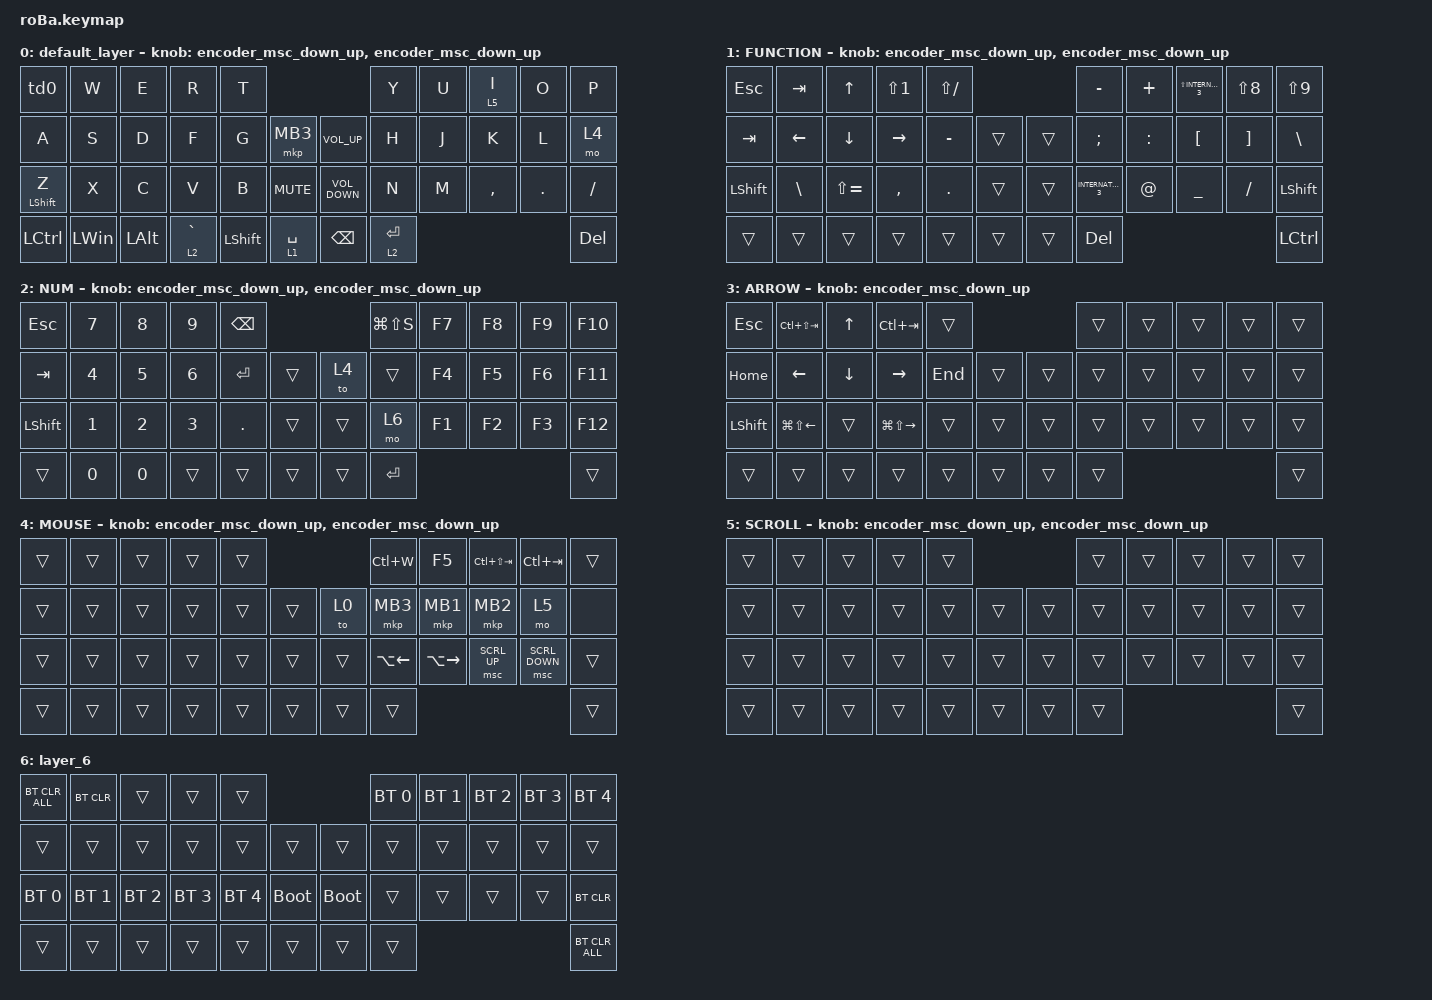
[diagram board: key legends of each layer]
#include <dt-bindings/zmk/pointing.h>　

#include <behaviors.dtsi>
#include <dt-bindings/zmk/bt.h>
#include <dt-bindings/zmk/keys.h>
#include <dt-bindings/zmk/pointing.h>

#define ZMK_POINTING_DEFAULT_SCRL_VAL 80
#define MOUSE 4
#define SCROLL 5
#define NUM 6

&mt {
    flavor = "balanced";
    quick-tap-ms = <0>;
};

/ {
    combos {
        compatible = "zmk,combos";

        MO6 {
            bindings = <&mo 6>;
            key-positions = <41 29>;
        };

        MO2 {
            bindings = <&mo 2>;
            key-positions = <22 10>;
        };
    };

    macros {
        to_layer_0: to_layer_0 {
            compatible = "zmk,behavior-macro-one-param";
            #binding-cells = <1>;
            bindings = <&to 0 &macro_param_1to1 &kp MACRO_PLACEHOLDER>;
            label = "TO_LAYER_0";
        };
    };

    behaviors {
        encoder_msc_down_up: encoder_msc_down_up {
            compatible = "zmk,behavior-sensor-rotate";
            label = "ENCODER_MSC_DOWN_UP";
            #sensor-binding-cells = <0>;
            bindings = <&msc SCRL_DOWN>, <&msc SCRL_UP>;

            tap-ms = <20>;
        };
    };

    behaviors {
        lt_to_layer_0: lt_to_layer_0 {
            compatible = "zmk,behavior-hold-tap";
            label = "LAYER_TAP_TO_0";
            bindings = <&mo>, <&to_layer_0>;

            #binding-cells = <2>;
            tapping-term-ms = <200>;
        };
    };

    behaviors {
        td0: tap_dance_0 {
            compatible = "zmk,behavior-tap-dance";
            #binding-cells = <0>;
            tapping-term-ms = <200>;
            bindings = <&kp Q>, <&kp GRAVE>;
        };
    };

    keymap {
        compatible = "zmk,keymap";

        default_layer {
            bindings = <
&td0              &kp W         &kp E         &kp R        &kp T                                               &kp Y        &kp U  &lt 5 I    &kp O    &kp P
&kp A             &kp S         &kp D         &kp F        &kp G           &mkp MB3         &kp C_VOL_UP       &kp H        &kp J  &kp K      &kp L    &mo 4
&mt LEFT_SHIFT Z  &kp X         &kp C         &kp V        &kp B           &kp C_MUTE       &kp C_VOLUME_DOWN  &kp N        &kp M  &kp COMMA  &kp DOT  &kp SLASH
&kp LCTRL         &kp LEFT_WIN  &kp LEFT_ALT  &lt 2 GRAVE  &kp LEFT_SHIFT  &lt 1 SPACE      &kp BACKSPACE      &lt 2 ENTER                             &kp DEL
            >;

            sensor-bindings = <&encoder_msc_down_up>, <&encoder_msc_down_up>;
        };

        FUNCTION {
            bindings = <
&kp ESC         &kp TAB        &kp UP         &kp LS(NUMBER_1)  &kp LS(SLASH)                      &kp MINUS            &kp PLUS   &kp LS(INTERNATIONAL_3)  &kp LS(NUMBER_8)   &kp LS(NUMBER_9)
&kp TAB         &kp LEFT       &kp DOWN       &kp RIGHT         &kp MINUS      &trans      &trans  &kp SEMICOLON        &kp COLON  &kp LEFT_BRACKET         &kp RIGHT_BRACKET  &kp BACKSLASH
&kp LEFT_SHIFT  &kp BACKSLASH  &kp LS(EQUAL)  &kp COMMA         &kp PERIOD     &trans      &trans  &kp INTERNATIONAL_3  &kp AT     &kp UNDER                &kp SLASH          &kp LEFT_SHIFT
&trans          &trans         &trans         &trans            &trans         &trans      &trans  &kp DEL                                                                     &kp LCTRL
            >;

            sensor-bindings = <&encoder_msc_down_up>, <&encoder_msc_down_up>;
        };

        NUM {
            bindings = <
&kp ESCAPE      &kp NUMBER_7  &kp NUMBER_8  &kp NUMBER_9  &kp BACKSPACE                      &kp LG(LS(S))  &kp F7  &kp F8  &kp F9  &kp F10
&kp TAB         &kp NUMBER_4  &kp NUMBER_5  &kp NUMBER_6  &kp ENTER      &trans      &to 4   &trans         &kp F4  &kp F5  &kp F6  &kp F11
&kp LEFT_SHIFT  &kp NUMBER_1  &kp NUMBER_2  &kp NUMBER_3  &kp PERIOD     &trans      &trans  &mo 6          &kp F1  &kp F2  &kp F3  &kp F12
&trans          &kp NUMBER_0  &kp NUMBER_0  &trans        &trans         &trans      &trans  &kp ENTER                              &trans
            >;

            sensor-bindings = <&encoder_msc_down_up>, <&encoder_msc_down_up>;
        };

        ARROW {
            bindings = <
&kp ESCAPE      &kp LC(LS(TAB))         &kp UP_ARROW    &kp LC(TAB)              &trans                       &trans  &trans  &trans  &trans  &trans
&kp HOME        &kp LEFT_ARROW          &kp DOWN_ARROW  &kp RIGHT_ARROW          &kp END  &trans      &trans  &trans  &trans  &trans  &trans  &trans
&kp LEFT_SHIFT  &kp LG(LS(LEFT_ARROW))  &trans          &kp LG(LS(RIGHT_ARROW))  &trans   &trans      &trans  &trans  &trans  &trans  &trans  &trans
&trans          &trans                  &trans          &trans                   &trans   &trans      &trans  &trans                          &trans
            >;

            sensor-bindings = <&encoder_msc_down_up>;
        };

        MOUSE {
            bindings = <
&trans  &trans  &trans  &trans  &trans                      &kp LC(W)     &kp F5         &kp LC(LS(TAB))  &kp LC(TAB)     &trans
&trans  &trans  &trans  &trans  &trans  &trans      &to 0   &mkp MB3      &mkp MB1       &mkp MB2         &mo 5           &none
&trans  &trans  &trans  &trans  &trans  &trans      &trans  &kp LA(LEFT)  &kp LA(RIGHT)  &msc SCRL_UP     &msc SCRL_DOWN  &trans
&trans  &trans  &trans  &trans  &trans  &trans      &trans  &trans                                                        &trans
            >;

            sensor-bindings = <&encoder_msc_down_up>, <&encoder_msc_down_up>;
        };

        SCROLL {
            bindings = <
&trans  &trans  &trans  &trans  &trans                      &trans  &trans  &trans  &trans  &trans
&trans  &trans  &trans  &trans  &trans  &trans      &trans  &trans  &trans  &trans  &trans  &trans
&trans  &trans  &trans  &trans  &trans  &trans      &trans  &trans  &trans  &trans  &trans  &trans
&trans  &trans  &trans  &trans  &trans  &trans      &trans  &trans                          &trans
            >;

            sensor-bindings = <&encoder_msc_down_up>, <&encoder_msc_down_up>;
        };

        layer_6 {
            bindings = <
&bt BT_CLR_ALL  &bt BT_CLR    &trans        &trans        &trans                                      &bt BT_SEL 0  &bt BT_SEL 1  &bt BT_SEL 2  &bt BT_SEL 3  &bt BT_SEL 4
&trans          &trans        &trans        &trans        &trans        &trans           &trans       &trans        &trans        &trans        &trans        &trans
&bt BT_SEL 0    &bt BT_SEL 1  &bt BT_SEL 2  &bt BT_SEL 3  &bt BT_SEL 4  &bootloader      &bootloader  &trans        &trans        &trans        &trans        &bt BT_CLR
&trans          &trans        &trans        &trans        &trans        &trans           &trans       &trans                                                  &bt BT_CLR_ALL
            >;
        };
    };
};
